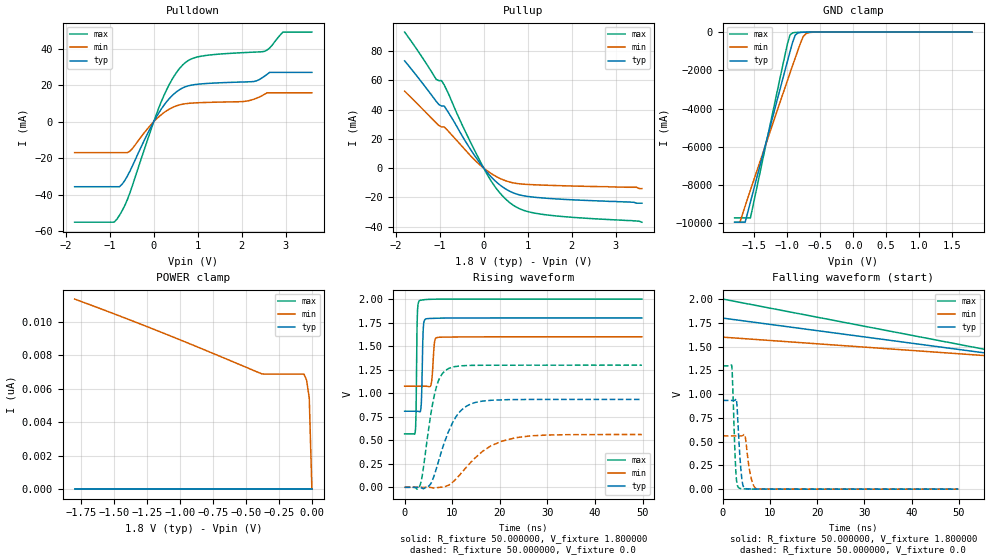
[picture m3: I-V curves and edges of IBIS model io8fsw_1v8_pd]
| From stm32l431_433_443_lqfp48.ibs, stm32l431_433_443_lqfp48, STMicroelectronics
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|   Model io8fsw_1v8_pd
[Model]  io8fsw_1v8_pd
Model_type I/O
Polarity   Non-Inverting
Enable   Active-Low
Vinl =   0.540000V
Vinh =   1.260000V
Vmeas =  0.900000V
Cref =   100.000000nF
Rref =   1.000000k
Vref =   1.800000V
C_comp   2.845500pF   2.787900pF   2.994700pF
[Temperature Range]   25.000000   0.125000k   -40.000000
[Pullup Reference]   1.800000V   1.600000V   2.000000V
[Pulldown Reference]   0.0V   0.0V   0.0V
[POWER Clamp Reference]   1.800000V   1.600000V   2.000000V
[GND Clamp Reference]   0.0V   0.0V   0.0V
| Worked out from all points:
|   slope of the pulldown table from 0 to 0.27 V, typ, clamps not added: 26.4 ohm
|   slope of the pullup table from 0 to 0.27 V, typ, clamps not added: 30.1 ohm
|   GND clamp passes 1 mA (typ) near -0.58 V on its own axis
|   rising waveform, R_fixture 50.000000, V_fixture 1.800000: 20-80 % time 264ps typ, 404ps min, 196ps max; typ from 0.808 V to 1.8 V
|   rising waveform, R_fixture 50.000000, V_fixture 0.0: 20-80 % time 4.17ns typ, 7.29ns min, 2.44ns max; typ from 0 V to 0.933 V
|   falling waveform, R_fixture 50.000000, V_fixture 1.800000: 20-80 % time 90.1ns typ, 90.1ns min, 90.1ns max; typ from 1.8 V to 0.808 V
|   falling waveform, R_fixture 50.000000, V_fixture 0.0: 20-80 % time 714ps typ, 1.02ns min, 553ps max; typ from 0.933 V to 0 V
[Pulldown]
|Voltage   I(typ)   I(min)   I(max)
-1.8V     -35.64mA   -16.93mA   -55.1mA
-840mV    -35.64mA   -16.93mA   -53.52mA
-720mV    -34.31mA   -16.93mA   -48.86mA
-540mV    -27.04mA   -16.13mA   -38.89mA
240mV     9.303mA    5.14mA     14.78mA
480mV     15.67mA    8.374mA    25.64mA
720mV     19.18mA    9.883mA    32.46mA
1.08V     20.76mA    10.49mA    35.95mA
2.1V      21.86mA    11.28mA    37.98mA
2.52V     24.95mA    15.03mA    38.63mA
2.94V     27.08mA    15.88mA    49.18mA
3.6V      27.08mA    15.88mA    49.18mA
[Pullup]
|Voltage   I(typ)   I(min)   I(max)
-1.8V     73.39mA    52.65mA    93.07mA
-1.08V    45.62mA    30.9mA     60.67mA
-960mV    42.51mA    28.16mA    59.87mA
-900mV    42.51mA    28.16mA    56.93mA
-300mV    12.8mA     8.47mA     17.72mA
60mV      -2.268mA   -1.401mA   -3.341mA
300mV     -9.801mA   -6.008mA   -14.46mA
600mV     -15.96mA   -9.582mA   -23.81mA
900mV     -18.89mA   -10.98mA   -28.81mA
1.32V     -20.37mA   -11.6mA    -31.56mA
3.48V     -24mA      -13.1mA    -36.2mA
3.6V      -24mA      -14mA      -37mA
[GND_clamp]
|Voltage   I(typ)   I(min)   I(max)
-1.8V     -9.93A     -9.932A    -9.707A
-1.72V    -9.93A     -9.932A    -9.707A
-1.64V    -9.93A     -9.083A    -9.707A
-1.56V    -8.876A    -8.251A    -9.707A
-1V       -1.54A     -2.541A    -631mA
-960mV    -1.028A    -2.139A    -153.8mA
-920mV    -527mA     -1.74A     -39.13mA
-880mV    -155.7mA   -1.344A    -18.02mA
-840mV    -45.33mA   -953mA     -12.69mA
-760mV    -8.431mA   -235mA     -7.631mA
-680mV    -3.453mA   -33.02mA   -3.876mA
1.8V      47.6uA     51.88uA    39.21uA
[POWER_clamp]
|Voltage   I(typ)   I(min)   I(max)
-1.8V     0A         11.37nA    0A
-1.14V    0A         9.374nA    0A
-380mV    0A         6.895nA    0A
-60mV     0A         6.881nA    0A
-40mV     0A         6.518nA    0A
-20mV     0A         5.452nA    0A
0V        0A         0A         0A
[Ramp]
| variable   typ   min   max
dV/dt_r  0.56008/4.16863n   0.33638/7.28484n   0.77826/2.43843n
dV/dt_f  0.59477/4.19742n   0.31494/7.40012n   0.85885/2.29079n
R_load = 50.000000
[Rising Waveform]
R_fixture= 50.000000
V_fixture= 1.800000
V_fixture_min= 1.600000
V_fixture_max= 2.000000
|time   V(typ)   V(min)   V(max)
0s        807.9mV    1.074V     568mV
2.202ns   808mV      1.074V     575.2mV
2.402ns   808mV      1.074V     801.7mV
2.703ns   807.6mV    1.074V     1.878V
3.203ns   801.3mV    1.074V     1.985V
3.504ns   891.7mV    1.074V     1.989V
3.904ns   1.68V      1.074V     1.991V
4.505ns   1.789V     1.073V     1.994V
6.807ns   1.796V     1.591V     1.998V
49.85ns   1.799V     1.599V     1.999V
[Rising Waveform]
R_fixture= 50.000000
V_fixture= 0.0
V_fixture_min= 0.0
V_fixture_max= 0.0
|time   V(typ)   V(min)   V(max)
0s        3.019nV    79.15nV    2.158nV
3.303ns   -1.625mV   -119.6nV   30.93mV
5.205ns   18.99mV    -18.46uV   677.4mV
6.406ns   156.4mV    -9.167mV   1.014V
7.508ns   342.6mV    116.5uV    1.175V
9.409ns   612.8mV    27.99mV    1.266V
11.31ns   785.3mV    117.1mV    1.287V
13.21ns   867.6mV    228.5mV    1.294V
20.42ns   928.8mV    489.5mV    1.297V
49.85ns   933.5mV    560.6mV    1.297V
[Falling Waveform]
R_fixture= 50.000000
V_fixture= 1.800000
V_fixture_min= 1.600000
V_fixture_max= 2.000000
|time   V(typ)   V(min)   V(max)
0s        1.799V     1.599V     1.999V
150.2ns   807.9mV    1.074V     568mV
300.3ns   807.9mV    1.074V     568mV
14.86us   807.9mV    1.074V     568mV
[Falling Waveform]
R_fixture= 50.000000
V_fixture= 0.0
V_fixture_min= 0.0
V_fixture_max= 0.0
|time   V(typ)   V(min)   V(max)
0s        933.5mV    560.6mV    1.297V
1.902ns   933.5mV    560.6mV    1.302V
2.803ns   950.2mV    560.6mV    157.6mV
3.003ns   884.7mV    560.6mV    57.77mV
3.504ns   438.3mV    560.4mV    10.75mV
4.004ns   124.1mV    560.4mV    5.297mV
4.404ns   23.63mV    570.3mV    4.099mV
6.106ns   1.783mV    97.96mV    1.121mV
7.207ns   1.389mV    4.469mV    768.6uV
49.85ns   3.019nV    79.15nV    2.158nV
